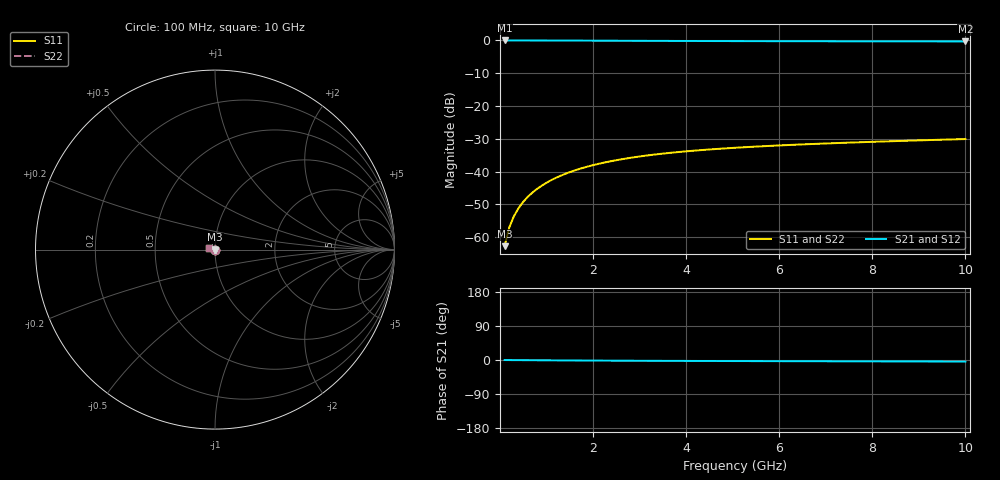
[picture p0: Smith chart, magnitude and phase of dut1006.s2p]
! Touchstone file exported from HFSS 2024.1.0
!  File:  C:/UserFiles/LocalFiles/RDL_TSV_Batchsim/temp_TSV1_1006_1780058489.aedt
!  Generated:  08:47:04 PM May 29, 2026
!  Design:  TSV1
!  Project:  temp_TSV1_1006_1780058489
!  Setup:  Setup1
!  Solution:  Sweep
! Variables:
!  dtsv = 6.96um
!  hbump = 3um
!  htsv = 62.8um
!  lrdl = 252.1521522um
!  p = 40
!  p1 = 42.67um
!  t = 500um
!  trdl = 3um
!  wrdl = 24.89489489um
# GHz S MA R 50.000000
! Terminal data exported
! Port[1] = TSV22_T1
! Port[2] = TSV22_T2
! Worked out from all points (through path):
!   100 points, 100 MHz to 10 GHz, reference 50 ohm
!   highest |S21| = 0.00 dB at 100 MHz (marker M1); lowest = -0.3 dB at 10 GHz (marker M2)
!   lowest |S11| = -62.8 dB at 100 MHz (marker M3), VSWR 1.00, Z = 50 - j0.0688 ohm
!   |S11| at or under -10 dB: start of sweep to end of sweep
!   |S22| runs from -62.8 to -30.1 dB; largest |S21 - S12| = 4.3e-15
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0.1  0.0007275 -71.1  0.9997 -0.1  0.9997 -0.1  0.0007275 -71.1
! Gamma 0 0 0 0
! Port Impedance 50 0 50 0
0.2  0.001403 -82.8  0.9996 -0.2  0.9996 -0.2  0.001403 -82.8
0.3  0.002088 -88.2  0.9995 -0.3  0.9995 -0.3  0.002088 -88.2
0.4  0.002772 -91.7  0.9994 -0.3  0.9994 -0.3  0.002772 -91.7
0.5  0.003452 -94.6  0.9992 -0.4  0.9992 -0.4  0.003452 -94.6
0.6  0.004127 -97.1  0.9989 -0.5  0.9989 -0.5  0.004127 -97.1
0.7  0.004795 -99.4  0.9986 -0.6  0.9986 -0.6  0.004795 -99.4
0.8  0.005456 -101.5  0.9983 -0.7  0.9983 -0.7  0.005456 -101.5
0.9  0.006107 -103.5  0.998 -0.8  0.998 -0.8  0.006107 -103.5
1.1  0.007382 -107.4  0.9972 -0.9  0.9972 -0.9  0.007382 -107.4
1.4  0.009209 -112.8  0.9958 -1.1  0.9958 -1.1  0.009209 -112.8
1.6  0.01036 -116.2  0.9948 -1.3  0.9948 -1.3  0.01036 -116.2
1.8  0.01147 -119.5  0.9937 -1.4  0.9937 -1.4  0.01147 -119.5
2.1  0.01302 -124.2  0.992 -1.6  0.992 -1.6  0.01302 -124.2
2.5  0.01491 -130.0  0.9897 -1.8  0.9897 -1.8  0.01491 -130.0
2.9  0.01659 -135.5  0.9874 -2.0  0.9874 -2.0  0.01659 -135.5
3.4  0.01844 -141.7  0.9847 -2.2  0.9847 -2.2  0.01844 -141.7
4.2  0.02091 -150.6  0.9808 -2.5  0.9808 -2.5  0.02091 -150.6
5.1  0.02316 -159.3  0.9772 -2.8  0.9772 -2.8  0.02316 -159.3
6.7  0.0263 -172.0  0.9724 -3.3  0.9724 -3.3  0.0263 -172.0
8.4  0.02902 177.2  0.9689 -3.7  0.9689 -3.7  0.02902 177.2
10  0.03133 168.6  0.9667 -4.2  0.9667 -4.2  0.03133 168.6
